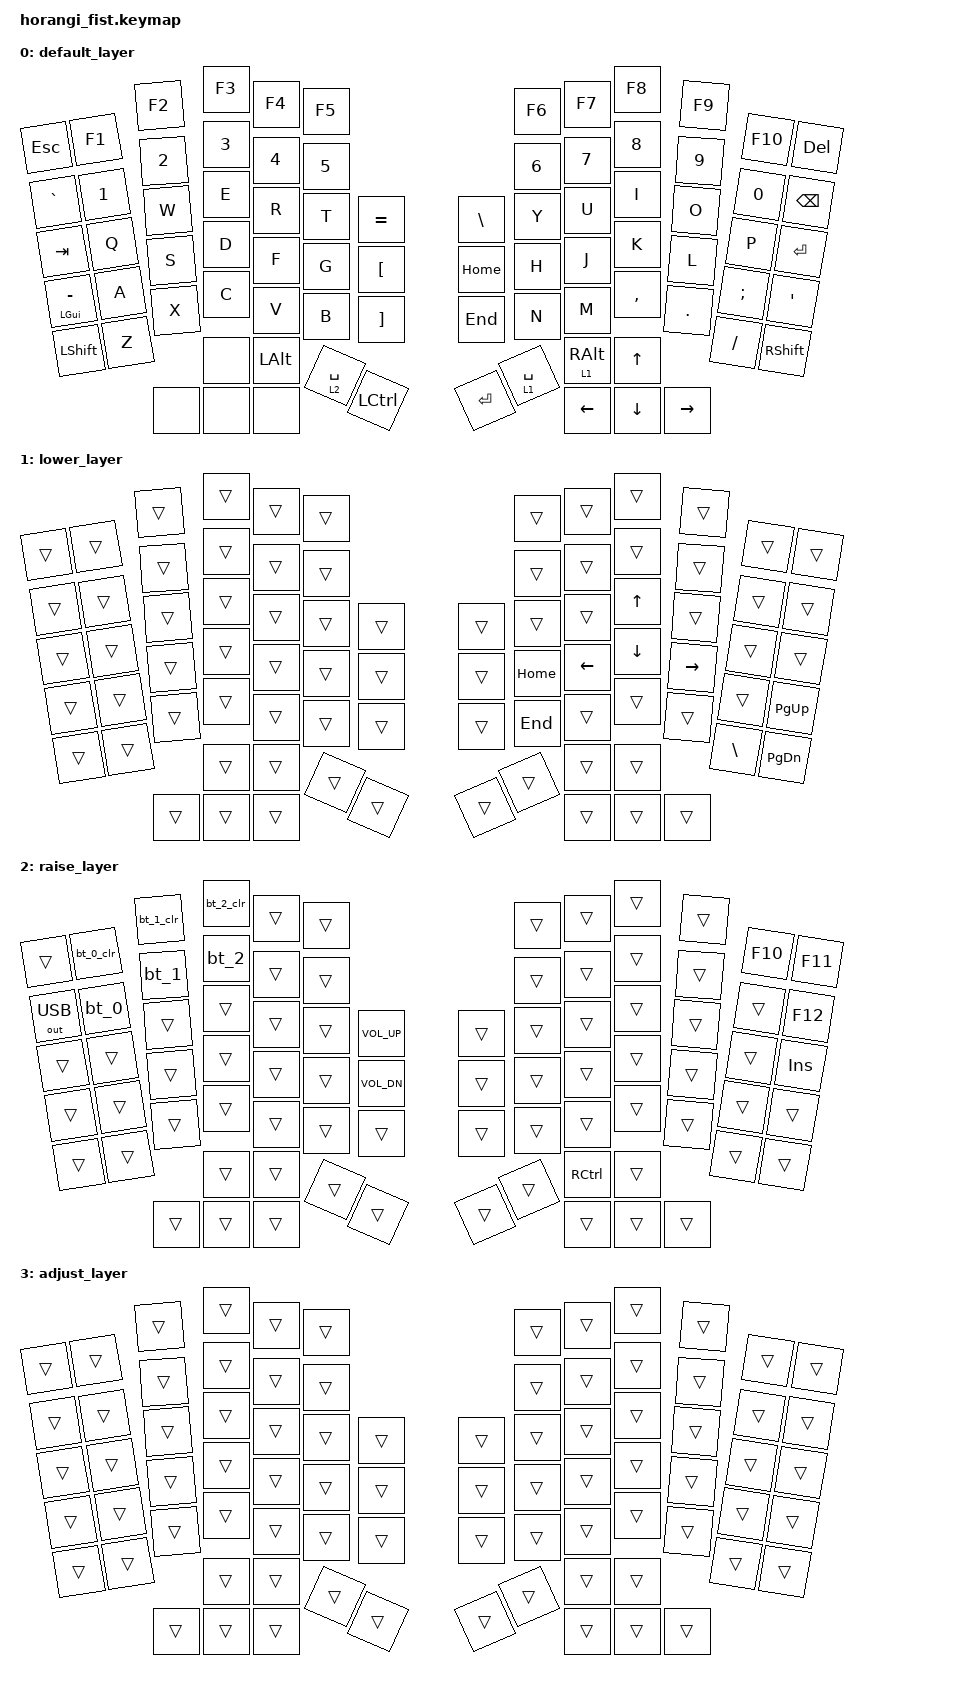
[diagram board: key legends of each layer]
#include <behaviors.dtsi>
#include <dt-bindings/zmk/keys.h>
#include <dt-bindings/zmk/bt.h>
#include <dt-bindings/zmk/ext_power.h>
#include <dt-bindings/zmk/outputs.h>
#include <dt-bindings/zmk/pointing.h>

&mt {
    tapping-term-ms = <175>;
};

&lt {
    tapping-term-ms = <175>;
};

/
{

    leds {
        compatible = "gpio-leds";
        user_led: led_0 {
            gpios = <&gpio0 15 GPIO_ACTIVE_HIGH>;
            label = "User LED";
        };
    };

    aliases {
        indicator-led = &user_led;
    };

    behaviors {
        gresc: grave_escape {
            compatible = "zmk,behavior-mod-morph";
            label = "GRAVE_ESCAPE";
            #binding-cells = <0>;
            bindings = <&kp ESC>, <&kp GRAVE>;
            mods = <(MOD_LGUI|MOD_LSFT|MOD_RGUI|MOD_RSFT|MOD_RALT)>;
            keep-mods = <(MOD_RSFT)>;
        };
        ht_tp: holdtap_tappreferred {
            compatible = "zmk,behavior-hold-tap";
            #binding-cells = <2>;
            flavor = "tap-preferred";
            tapping-term-ms = <175>;
            quick-tap-ms = <155>;
            bindings = <&kp>, <&kp>;
        };
        ht_hp: holdtap_holdpreferred {
            compatible = "zmk,behavior-hold-tap";
            #binding-cells = <2>;
            flavor = "hold-preferred";
            tapping-term-ms = <175>;
            quick-tap-ms = <155>;
            bindings = <&kp>, <&kp>;
        };
        ht_bl: holdtap_balanced {
            compatible = "zmk,behavior-hold-tap";
            #binding-cells = <2>;
            flavor = "balanced";
            tapping-term-ms = <175>;
            quick-tap-ms = <155>;
            bindings = <&kp>, <&kp>;
        };
    };

    macros {
        bt_0: bt_profile_macro_0 {
            label = "BT_0";
            compatible = "zmk,behavior-macro";
            #binding-cells = <0>;
            bindings
                = <&out OUT_BLE>
                , <&bt BT_SEL 0>;
        };

        bt_1: bt_profile_macro_1 {
            label = "BT_1";
            compatible = "zmk,behavior-macro";
            #binding-cells = <0>;
            bindings
                = <&out OUT_BLE>
                , <&bt BT_SEL 1>;
        };
        
        bt_2: bt_profile_macro_2 {
            label = "BT_2";
            compatible = "zmk,behavior-macro";
            #binding-cells = <0>;
            bindings
                = <&out OUT_BLE>
                , <&bt BT_SEL 2>;
        };

        select_usb: usb_profile_macro {
            label = "SELECT_USB";
            compatible = "zmk,behavior-macro";
            #binding-cells = <0>;
            bindings
                = <&out OUT_USB>
                , <&macro_wait_time 1000>
                , <&bt BT_DISC 0>
                , <&macro_wait_time 1000>
                , <&bt BT_DISC 1>
                , <&macro_wait_time 1000>
                , <&bt BT_DISC 2>;
        };

        bt_0_clr: bt_profile_macro_0_clr {
            label = "BT_0_CLR";
            compatible = "zmk,behavior-macro";
            #binding-cells = <0>;
            bindings
                = <&out OUT_BLE>
                , <&bt BT_SEL 0>
                , <&macro_wait_time 1000>
                , <&bt BT_CLR>;
        };

        bt_1_clr: bt_profile_macro_1_clr {
            label = "BT_1_CLR";
            compatible = "zmk,behavior-macro";
            #binding-cells = <0>;
            bindings
                = <&out OUT_BLE>
                , <&bt BT_SEL 1>
                , <&macro_wait_time 1000>
                , <&bt BT_CLR>;
        };

        bt_2_clr: bt_profile_macro_2_clr {
            label = "BT_2_CLR";
            compatible = "zmk,behavior-macro";
            #binding-cells = <0>;
            bindings
                = <&out OUT_BLE>
                , <&bt BT_SEL 2>
                , <&macro_wait_time 1000>
                , <&bt BT_CLR>;
        };
    };

    conditional_layers {
        compatible = "zmk,conditional-layers";
        tri_layer {
            if-layers = <1 2>;
            then-layer = <3>;
        };
    };

    keymap {
        compatible = "zmk,keymap";
 
        default_layer {
            bindings = <
&kp ESC     &kp F1  &kp F2    &kp F3    &kp F4      &kp F5                                &kp F6    &kp F7   &kp F8     &kp F9   &kp F10     &kp DEL
&kp GRAVE   &kp N1  &kp N2    &kp N3    &kp N4      &kp N5                                &kp N6    &kp N7   &kp N8     &kp N9   &kp N0      &kp BSPC
&kp TAB     &kp Q   &kp W     &kp E     &kp R       &kp T    &kp EQUAL          &kp BSLH  &kp Y     &kp U    &kp I      &kp O    &kp P       &kp ENTER
&mt LGUI MINUS &kp A &kp S    &kp D     &kp F       &kp G    &kp LBKT           &kp HOME  &kp H     &kp J    &kp K      &kp L    &kp SEMI    &kp SQT
&kp LSHFT   &kp Z   &kp X     &kp C     &kp V       &kp B    &kp RBKT           &kp END   &kp N     &kp M    &kp COMMA  &kp DOT  &kp FSLH    &kp RSHFT
                              &none     &kp LALT &lt 2 SPACE &kp LCTRL          &kp ENTER &lt 1 SPACE &lt 1 RALT &kp UP
                    &none     &none     &none                                                       &kp LEFT &kp DOWN   &kp RIGHT
            >;
        };

        lower_layer {
            bindings = <
&trans       &trans    &trans    &trans    &trans      &trans                                &trans    &trans   &trans     &trans   &trans      &trans
&trans       &trans    &trans    &trans    &trans      &trans                                &trans    &trans   &trans     &trans   &trans      &trans
&trans       &trans    &trans    &trans    &trans      &trans   &trans             &trans    &trans    &trans   &kp UP     &trans   &trans      &trans
&trans       &trans    &trans    &trans    &trans      &trans   &trans             &trans    &kp HOME  &kp LEFT &kp DOWN   &kp RIGHT &trans     &kp PG_UP
&trans       &trans    &trans    &trans    &trans      &trans   &trans             &trans    &kp END   &trans   &trans     &trans   &kp BSLH    &kp PG_DN
                                 &trans    &trans      &trans   &trans             &trans    &trans    &trans   &trans
                       &trans    &trans    &trans                                                      &trans   &trans     &trans
            >;
        };

        raise_layer {
            bindings = <
&trans       &bt_0_clr &bt_1_clr &bt_2_clr &trans      &trans                                &trans    &trans   &trans     &trans   &kp F10     &kp F11
&out OUT_USB &bt_0     &bt_1     &bt_2     &trans      &trans                                &trans    &trans   &trans     &trans   &trans      &kp F12
&trans       &trans    &trans    &trans    &trans      &trans   &kp C_VOL_UP       &trans    &trans    &trans   &trans     &trans   &trans      &kp INS  
&trans       &trans    &trans    &trans    &trans      &trans   &kp C_VOL_DN       &trans    &trans    &trans   &trans     &trans   &trans      &trans
&trans       &trans    &trans    &trans    &trans      &trans   &trans             &trans    &trans    &trans   &trans     &trans   &trans      &trans
                                 &trans    &trans      &trans   &trans             &trans    &trans    &kp RCTRL &trans
                       &trans    &trans    &trans                                                      &trans   &trans     &trans
            >;
        };

        adjust_layer {
            bindings = <
&trans       &trans    &trans    &trans    &trans      &trans                                &trans    &trans   &trans     &trans   &trans      &trans
&trans       &trans    &trans    &trans    &trans      &trans                                &trans    &trans   &trans     &trans   &trans      &trans
&trans       &trans    &trans    &trans    &trans      &trans   &trans             &trans    &trans    &trans   &trans     &trans   &trans      &trans
&trans       &trans    &trans    &trans    &trans      &trans   &trans             &trans    &trans    &trans   &trans     &trans   &trans      &trans
&trans       &trans    &trans    &trans    &trans      &trans   &trans             &trans    &trans    &trans   &trans     &trans   &trans      &trans
                                 &trans    &trans      &trans   &trans             &trans    &trans    &trans   &trans
                       &trans    &trans    &trans                                                      &trans   &trans     &trans
            >;

        };
        
    };
};
